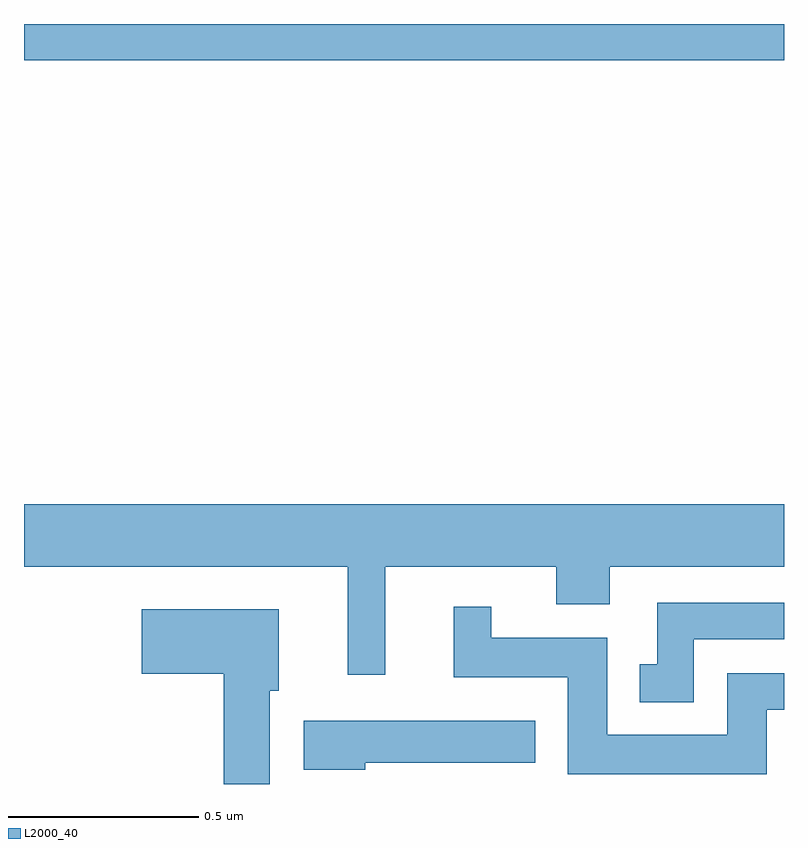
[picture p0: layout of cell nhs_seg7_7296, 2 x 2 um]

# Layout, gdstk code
import gdstk
lib = gdstk.Library(unit=1e-6, precision=1e-09)
def R(c, l, rs):  # rectangles x0, y0, x1, y1
    for r in rs: c.add(gdstk.rectangle(r[:2], r[2:], *l))
def P(c, l, *ps):  # polygons
    for p in ps: c.add(gdstk.Polygon(p, *l))
L2000_40 = (2000, 40)

nhs_seg7_7296 = lib.new_cell('nhs_seg7_7296')
R(nhs_seg7_7296, L2000_40, [(209,1045.904,211,1046)])
P(nhs_seg7_7296, L2000_40, [(209.951,1044.572),(210.401,1044.572),(210.401,1044.473),(210.541,1044.473),(210.541,1044.572),(211,1044.572),(211,1044.736),(209,1044.736),(209,1044.572),(209.852,1044.572),(209.852,1044.288),(209.951,1044.288)],
  [(210.762,1044.381),(211,1044.381),(211,1044.477),(210.666,1044.477),(210.666,1044.315),(210.62,1044.315),(210.62,1044.215),(210.762,1044.215)],
  [(210.955,1044.195),(211,1044.195),(211,1044.291),(210.851,1044.291),(210.851,1044.13),(210.535,1044.13),(210.535,1044.385),(210.229,1044.385),(210.229,1044.466),(210.131,1044.466),(210.131,1044.281),(210.431,1044.281),(210.431,1044.026),(210.955,1044.026)],
  [(209.647,1044.246),(209.671,1044.246),(209.671,1044.46),(209.31,1044.46),(209.31,1044.29),(209.525,1044.29),(209.525,1044),(209.647,1044)],
  [(209.898,1044.056),(210.346,1044.056),(210.346,1044.166),(209.736,1044.166),(209.736,1044.038),(209.898,1044.038)])

lib.write_gds('nhs_seg7_7296.gds')
